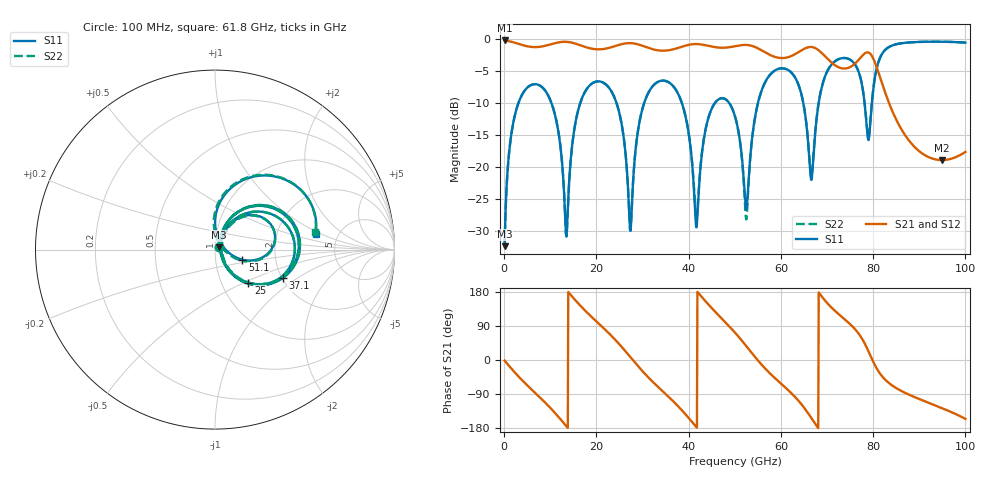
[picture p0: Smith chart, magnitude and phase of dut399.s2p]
! Touchstone file exported from HFSS 2026.1.0
!  File:  C:/ffzhzh/LocalFiles/Ansys_Project_Files/temp_train_TSV_RDL_399_1783720621_45164.aedt
!  Generated:  06:06:04 AM Jul 11, 2026
!  Design:  TSV_RDL
!  Project:  temp_train_TSV_RDL_399_1783720621_45164
! Variables:
!  h_bsmrdl = 4.17um
!  h_ox = 20um
!  h_rdl = 5um
!  h_sub = 84.18um
!  h_tmrdl = 2.38um
!  h_tsv = 84.18um
!  h_via = 3um
!  l_bsmrdl = 475.31um
!  l_sub = 4189.8um
!  l_tmrdl = 556.49um
!  m_sub = 200um
!  pitch = 49.38um
!  r_tsv = 13.34um
!  s_tmrdl = 10um
!  w_bsmrdl = 19.53um
!  w_sub = 500um
!  w_tmrdl = 26.44um
!  x_tsv_center1 = 569.71um
!  x_tsv_center2 = 1064.55um
!  x_tsv_center3 = 1647.48um
!  x_tsv_center4 = 2142.32um
!  x_tsv_center5 = 2725.25um
!  x_tsv_center6 = 3220.09um
# GHz S MA R 50.000000
! Terminal data exported
! Port[1] = TM_RDL1_1_T1
! Port[2] = TM_RDL5_1_T1
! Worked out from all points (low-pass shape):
!   1000 points, 100 MHz to 100 GHz, reference 50 ohm
!   highest |S21| = -0.17 dB at 100 MHz (marker M1); lowest = -18.9 dB at 94.9 GHz (marker M2)
!   |S21| within 3 dB of the highest: start of sweep to 70.28 GHz; 76.9 GHz to 80.13 GHz (3.227 GHz wide, 4.11 % of centre)
!   lowest |S11| = -32.4 dB at 100 MHz (marker M3), VSWR 1.05, Z = 52 + j1.34 ohm
!   |S11| at or under -10 dB: 10.25 GHz to 16.5 GHz (6.243 GHz wide, 46.7 % of centre); 38.53 GHz to 45.69 GHz (7.152 GHz wide, 17 % of centre); 48.81 GHz to 55.02 GHz (6.213 GHz wide, 12 % of centre) (the widest 3 of 7)
!   |S22| runs from -32.4 to -0.4 dB; largest |S21 - S12| = 1.3e-10
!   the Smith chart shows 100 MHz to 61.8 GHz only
!   S11 on the Smith chart (normalised r, x): 100 MHz: 1.04, +0.03; 25 GHz: 1.34, -0.53; 37.1 GHz: 2.01, -0.77; 51.1 GHz: 1.35, -0.16; 61.8 GHz: 3.37, +0.88
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0.1  0.02386 32.7  0.9802 -1.5  0.9802 -1.5  0.02386 32.7
! Gamma 0 0 0 0
! Port Impedance 50 0 50 0
2.6  0.2776 47.9  0.9341 -36.7  0.9341 -36.7  0.2776 47.9
8.4  0.416 -17.7  0.8817 -106.4  0.8817 -106.4  0.416 -17.7
13.5  0.02864 10.8  0.9563 -174.8  0.9563 -174.8  0.02837 7.9
16.8  0.3396 45.9  0.8908 139.8  0.8908 139.8  0.3394 46.0
25  0.2619 -44.7  0.907 41.2  0.907 41.2  0.2618 -44.5
27.4  0.03145 13.2  0.9341 7.0  0.9341 7.0  0.03167 13.6
33.4  0.4651 16.6  0.8196 -71.4  0.8196 -71.4  0.4652 16.9
37.1  0.4087 -23.0  0.8437 -114.4  0.8437 -114.4  0.4089 -22.4
41.7  0.03349 5.7  0.9188 -177.3  0.9188 -177.3  0.0387 5.4
44.9  0.2802 43.6  0.8798 138.3  0.8798 138.3  0.2808 42.5
50.1  0.2455 -12.7  0.8842 71.6  0.8842 71.6  0.2451 -14.1
51.1  0.1622 -20.2  0.8977 57.5  0.8977 57.5  0.1611 -22.5
52.5  0.04606 36.0  0.9044 36.7  0.9044 36.7  0.03868 35.7
55.7  0.3857 71.9  0.8245 -10.7  0.8245 -10.7  0.3846 73.2
61.8  0.5674 9.0  0.729 -82.1  0.729 -82.1  0.5671 9.8
66.7  0.08155 37.8  0.8705 -154.9  0.8705 -154.9  0.08696 37.7
76.6  0.5862 -9.6  0.6748 73.7  0.6748 73.7  0.5878 -8.9
79.4  0.224 51.7  0.7694 11.8  0.7694 11.8  0.2318 50.0
83.4  0.8692 21.9  0.3197 -60.6  0.3197 -60.6  0.8697 21.6
94.9  0.9579 -37.4  0.113 -126.8  0.113 -126.8  0.9578 -37.7
100  0.943 -63.3  0.1309 -155.3  0.1309 -155.3  0.9426 -63.8
